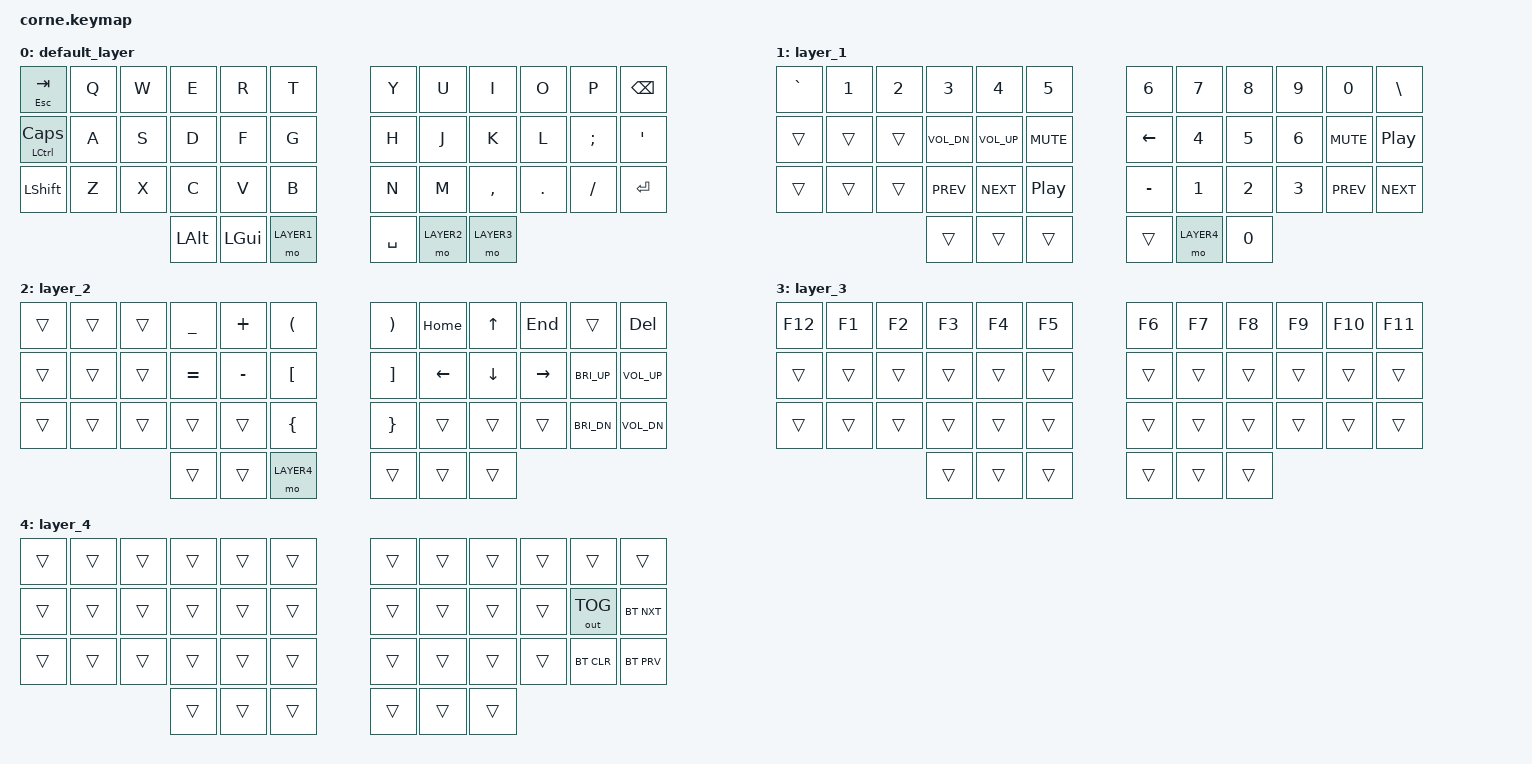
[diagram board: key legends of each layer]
#include <behaviors.dtsi>
#include <dt-bindings/zmk/bt.h>
#include <dt-bindings/zmk/keys.h>
#include <dt-bindings/zmk/outputs.h>

#define DEFAULT 0
#define LAYER1  1
#define LAYER2  2
#define LAYER3  3
#define LAYER4  4

#define COMBO_TIMEOUT 20
#define COMBO_PRIOR_IDLE 75

/ {
    combos {
        compatible = "zmk,combos";
        combo_grave {
            timeout-ms = <COMBO_TIMEOUT>;
            key-positions = <0 1>;
            bindings = <&kp GRAVE>;
        };

        combo_exclamation {
            timeout-ms = <COMBO_TIMEOUT>;
            key-positions = <1 2>;
            bindings = <&kp EXCLAMATION>;
        };

        combo_atsign {
            timeout-ms = <COMBO_TIMEOUT>;
            key-positions = <2 3>;
            bindings = <&kp AT_SIGN>;
        };

        combo_hash {
            timeout-ms = <COMBO_TIMEOUT>;
            key-positions = <3 4>;
            bindings = <&kp HASH>;
        };

        combo_dollar {
            timeout-ms = <COMBO_TIMEOUT>;
            key-positions = <4 5>;
            bindings = <&kp DOLLAR>;
        };

        combo_percent {
            timeout-ms = <COMBO_TIMEOUT>;
            key-positions = <5 6>;
            bindings = <&kp PERCENT>;
        };

        combo_caret {
            timeout-ms = <COMBO_TIMEOUT>;
            key-positions = <6 7>;
            bindings = <&kp CARET>;
        };

        combo_ampersand {
            timeout-ms = <COMBO_TIMEOUT>;
            key-positions = <7 8>;
            bindings = <&kp AMPERSAND>;
        };

        combo_asterisk {
            timeout-ms = <COMBO_TIMEOUT>;
            key-positions = <8 9>;
            bindings = <&kp ASTERISK>;
        };

        combo_lpar {
            timeout-ms = <COMBO_TIMEOUT>;
            key-positions = <9 10>;
            bindings = <&kp LEFT_PARENTHESIS>;
        };

        combo_rpar {
            timeout-ms = <COMBO_TIMEOUT>;
            key-positions = <10 11>;
            bindings = <&kp RIGHT_PARENTHESIS>;
        };

        combo_gui_option {
            timeout-ms = <COMBO_TIMEOUT>;
            key-positions = <36 37>;
            bindings = <&kp LG(LALT)>;
        };

        combo_ctrl_z {
            timeout-ms = <COMBO_TIMEOUT>;
            require-prior-idle-ms = <COMBO_PRIOR_IDLE>;
            key-positions = <25 26>;
            bindings = <&kp LG(Z)>;
        };

        combo_ctrl_x {
            timeout-ms = <COMBO_TIMEOUT>;
            require-prior-idle-ms = <COMBO_PRIOR_IDLE>;
            key-positions = <26 27>;
            bindings = <&kp LG(X)>;
        };

        combo_ctrl_c {
            timeout-ms = <COMBO_TIMEOUT>;
            require-prior-idle-ms = <COMBO_PRIOR_IDLE>;
            key-positions = <27 28>;
            bindings = <&kp LG(C)>;
        };

        combo_ctrl_v {
            timeout-ms = <COMBO_TIMEOUT>;
            require-prior-idle-ms = <COMBO_PRIOR_IDLE>;
            key-positions = <28 29>;
            bindings = <&kp LG(V)>;
        };
    };

    keymap {
        compatible = "zmk,keymap";

        default_layer {
            bindings = <
&mt ESC TAB         &kp Q  &kp W  &kp E     &kp R      &kp T       &kp Y     &kp U      &kp I      &kp O    &kp P     &kp BSPC
&mt LCTRL CAPSLOCK  &kp A  &kp S  &kp D     &kp F      &kp G       &kp H     &kp J      &kp K      &kp L    &kp SEMI  &kp SQT
&kp LSHFT           &kp Z  &kp X  &kp C     &kp V      &kp B       &kp N     &kp M      &kp COMMA  &kp DOT  &kp FSLH  &kp ENTER
                                  &kp LALT  &kp LGUI   &mo LAYER1  &kp SPACE &mo LAYER2 &mo LAYER3
            >;
        };

        layer_1 {
            bindings = <
&kp GRAVE  &kp N1    &kp N2     &kp N3        &kp N4        &kp N5              &kp N6     &kp N7      &kp N8     &kp N9    &kp N0      &kp BSLH
&trans     &trans    &trans     &kp C_VOL_DN  &kp C_VOL_UP  &kp K_MUTE          &kp LEFT   &kp N4      &kp N5     &kp N6    &kp C_MUTE  &kp C_PLAY_PAUSE
&trans     &trans    &trans     &kp C_PREV    &kp C_NEXT    &kp C_PLAY_PAUSE    &kp MINUS  &kp N1      &kp N2     &kp N3    &kp C_PREV  &kp C_NEXT
                                &trans        &trans        &trans              &trans     &mo LAYER4  &kp N0
            >;
        };

        layer_2 {
            bindings = <
&trans  &trans  &trans  &kp UNDER    &kp PLUS    &kp LPAR     &kp RPAR   &kp HOME   &kp UP     &kp END       &trans         &kp DEL
&trans  &trans  &trans  &kp EQUAL    &kp MINUS   &kp LBKT     &kp RBKT   &kp LEFT   &kp DOWN   &kp RIGHT     &kp C_BRI_UP   &kp C_VOL_UP
&trans  &trans  &trans  &trans       &trans      &kp LBRC     &kp RBRC   &trans     &trans     &trans        &kp C_BRI_DN   &kp C_VOL_DN
                        &trans       &trans      &mo LAYER4   &trans     &trans     &trans
            >;
        };

        layer_3 {
            bindings = <
&kp F12    &kp F1   &kp F2  &kp F3   &kp F4   &kp F5    &kp F6     &kp F7   &kp F8   &kp F9    &kp F10   &kp F11
&trans     &trans   &trans  &trans   &trans   &trans    &trans     &trans   &trans   &trans    &trans    &trans
&trans     &trans   &trans  &trans   &trans   &trans    &trans     &trans   &trans   &trans    &trans    &trans
                            &trans   &trans   &trans    &trans     &trans   &trans
            >;
        };

        layer_4 {
            bindings = <
&trans     &trans   &trans  &trans   &trans   &trans    &trans     &trans   &trans   &trans    &trans       &trans
&trans     &trans   &trans  &trans   &trans   &trans    &trans     &trans   &trans   &trans    &out OUT_TOG &bt BT_NXT
&trans     &trans   &trans  &trans   &trans   &trans    &trans     &trans   &trans   &trans    &bt BT_CLR   &bt BT_PRV
                            &trans   &trans   &trans    &trans     &trans   &trans
            >;
        };
    };
};

